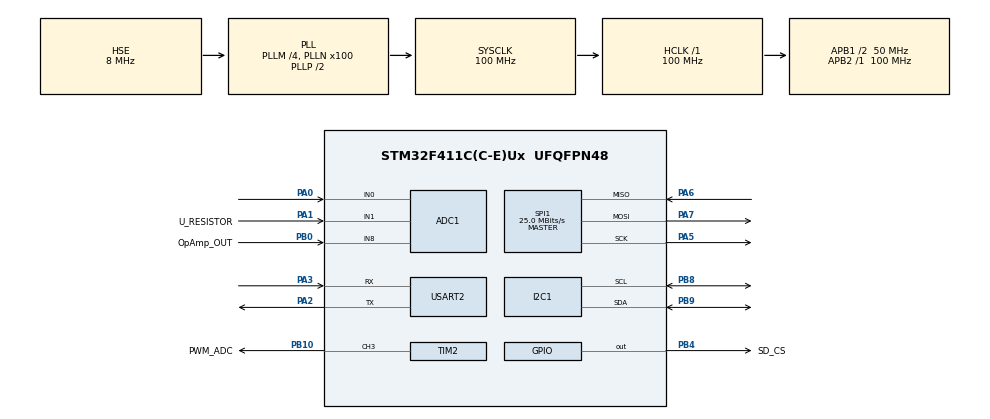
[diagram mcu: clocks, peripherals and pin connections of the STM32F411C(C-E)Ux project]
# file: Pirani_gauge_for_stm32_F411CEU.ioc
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ADC1.Channel-0\#ChannelRegularConversion=ADC_CHANNEL_8
ADC1.Channel-1\#ChannelRegularConversion=ADC_CHANNEL_1
ADC1.Channel-4\#ChannelInjectedConversion=ADC_CHANNEL_0
ADC1.ClockPrescaler=ADC_CLOCK_SYNC_PCLK_DIV8
ADC1.ContinuousConvMode=ENABLE
ADC1.DMAContinuousRequests=ENABLE
ADC1.ExternalTrigConv=ADC_SOFTWARE_START
ADC1.InjNumberOfConversion=1
ADC1.InjectedOffset-4\#ChannelInjectedConversion=0
ADC1.InjectedRank-4\#ChannelInjectedConversion=1
ADC1.NbrOfConversion=2
ADC1.NbrOfConversionFlag=1
ADC1.Rank-0\#ChannelRegularConversion=1
ADC1.Rank-1\#ChannelRegularConversion=2
ADC1.SamplingTime-0\#ChannelRegularConversion=ADC_SAMPLETIME_480CYCLES
ADC1.SamplingTime-1\#ChannelRegularConversion=ADC_SAMPLETIME_480CYCLES
ADC1.SamplingTime-4\#ChannelInjectedConversion=ADC_SAMPLETIME_480CYCLES
ADC1.ScanConvMode=ENABLE
ADC1.master=1
Dma.ADC1.0.Direction=DMA_PERIPH_TO_MEMORY
Dma.ADC1.0.FIFOMode=DMA_FIFOMODE_ENABLE
Dma.ADC1.0.FIFOThreshold=DMA_FIFO_THRESHOLD_FULL
Dma.ADC1.0.Instance=DMA2_Stream0
Dma.ADC1.0.MemBurst=DMA_MBURST_SINGLE
Dma.ADC1.0.MemDataAlignment=DMA_MDATAALIGN_HALFWORD
Dma.ADC1.0.MemInc=DMA_MINC_ENABLE
Dma.ADC1.0.Mode=DMA_CIRCULAR
Dma.ADC1.0.PeriphBurst=DMA_PBURST_SINGLE
Dma.ADC1.0.PeriphDataAlignment=DMA_PDATAALIGN_HALFWORD
Dma.ADC1.0.PeriphInc=DMA_PINC_DISABLE
Dma.ADC1.0.Priority=DMA_PRIORITY_LOW
Dma.Request0=ADC1
FATFS._MAX_SS=4096
FATFS._USE_LFN=1
I2C1.I2C_Mode=I2C_Fast
Mcu.Family=STM32F4
Mcu.Name=STM32F411C(C-E)Ux
Mcu.Package=UFQFPN48
NVIC.DMA2_Stream0_IRQn=true\:0\:0\:false\:true\:true\:1\:false\:true
NVIC.PriorityGroup=NVIC_PRIORITYGROUP_4
NVIC.TIM1_TRG_COM_TIM11_IRQn=true\:0\:0\:false\:false\:true\:true\:true
NVIC.TIM1_UP_TIM10_IRQn=true\:0\:0\:false\:false\:true\:true\:true
NVIC.TIM2_IRQn=true\:0\:0\:false\:false\:true\:true\:true
NVIC.USART2_IRQn=true\:0\:0\:false\:false\:true\:true\:true
PA0-WKUP.Signal=ADCx_IN0
PA1.GPIO_Label=U_RESISTOR
PA1.Signal=ADCx_IN1
PA13.Mode=Serial_Wire
PA13.Signal=SYS_JTMS-SWDIO
PA14.Mode=Serial_Wire
PA14.Signal=SYS_JTCK-SWCLK
PA2.Mode=Asynchronous
PA2.Signal=USART2_TX
PA3.Mode=Asynchronous
PA3.Signal=USART2_RX
PA5.Mode=Full_Duplex_Master
PA5.Signal=SPI1_SCK
PA6.Mode=Full_Duplex_Master
PA6.Signal=SPI1_MISO
PA7.Mode=Full_Duplex_Master
PA7.Signal=SPI1_MOSI
PB0.GPIO_Label=OpAmp_OUT
PB0.Signal=ADCx_IN8
PB10.GPIO_Label=PWM_ADC
PB10.Signal=S_TIM2_CH3
PB4.GPIO_Label=SD_CS
PB4.Signal=GPIO_Output
PB8.Mode=I2C
PB8.Signal=I2C1_SCL
PB9.Mode=I2C
PB9.Signal=I2C1_SDA
PC14-OSC32_IN.Mode=LSE-External-Oscillator
PC14-OSC32_IN.Signal=RCC_OSC32_IN
PC15-OSC32_OUT.Mode=LSE-External-Oscillator
PC15-OSC32_OUT.Signal=RCC_OSC32_OUT
PH0\ -\ OSC_IN.Mode=HSE-External-Oscillator
PH0\ -\ OSC_IN.Signal=RCC_OSC_IN
PH1\ -\ OSC_OUT.Mode=HSE-External-Oscillator
PH1\ -\ OSC_OUT.Signal=RCC_OSC_OUT
ProjectManager.HeapSize=0x200
ProjectManager.StackSize=0x400
ProjectManager.TargetToolchain=SW4STM32
RCC.48MHZClocksFreq_Value=66666666.666666664
RCC.AHBFreq_Value=100000000
RCC.APB1CLKDivider=RCC_HCLK_DIV2
RCC.APB1Freq_Value=50000000
RCC.APB1TimFreq_Value=100000000
RCC.APB2Freq_Value=100000000
RCC.APB2TimFreq_Value=100000000
RCC.CortexFreq_Value=100000000
RCC.HCLKFreq_Value=100000000
RCC.HSE_VALUE=8000000
RCC.HSI_VALUE=16000000
RCC.PLLM=4
RCC.PLLN=100
RCC.PLLQ=3
RCC.PLLSourceVirtual=RCC_PLLSOURCE_HSE
RCC.RCC_RTC_Clock_Source=RCC_RTCCLKSOURCE_LSE
RCC.RCC_RTC_Clock_SourceVirtual=RCC_RTCCLKSOURCE_LSE
RCC.SYSCLKFreq_VALUE=100000000
RCC.SYSCLKSource=RCC_SYSCLKSOURCE_PLLCLK
RCC.VCOOutputFreq_Value=200000000
SH.ADCx_IN0.0=ADC1_IN0,IN0
SH.ADCx_IN1.0=ADC1_IN1,IN1
SH.ADCx_IN8.0=ADC1_IN8,IN8
SH.S_TIM2_CH3.0=TIM2_CH3,PWM Generation3 CH3
SPI1.BaudRatePrescaler=SPI_BAUDRATEPRESCALER_4
SPI1.CalculateBaudRate=25.0 MBits/s
SPI1.Direction=SPI_DIRECTION_2LINES
SPI1.Mode=SPI_MODE_MASTER
SPI1.VirtualType=VM_MASTER
TIM10.Period=199
TIM10.Prescaler=9999
TIM11.Period=9999
TIM11.Prescaler=10999
TIM2.Channel-PWM\ Generation3\ CH3=TIM_CHANNEL_3
TIM2.OCMode_PWM-PWM\ Generation3\ CH3=TIM_OCMODE_PWM1
TIM2.Period=9999
TIM2.Prescaler=49
USART2.VirtualMode=VM_ASYNC
VP_FATFS_VS_Generic.Mode=User_defined
VP_TIM10_VS_ClockSourceINT.Mode=Enable_Timer
VP_TIM11_VS_ClockSourceINT.Mode=Enable_Timer
VP_TIM2_VS_ClockSourceINT.Mode=Internal
board=custom

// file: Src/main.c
/* USER CODE BEGIN Header */
/**
 ******************************************************************************
 * Author: 		   : Aleksander Dzikowski
 * @file           : main.c
 * @brief          : Main program body
 ******************************************************************************
 * @attention
 *
 * <h2><center>&copy; Copyright (c) 2019 STMicroelectronics.
 * All rights reserved.</center></h2>
 *
 * This software component is licensed by ST under BSD 3-Clause license,
 * the "License"; You may not use this file except in compliance with the
 * License. You may obtain a copy of the License at:
 *                        opensource.org/licenses/BSD-3-Clause
 *
 ******************************************************************************
 */
/* USER CODE END Header */

#include "main.h"
#include "fatfs.h"

/* USER CODE BEGIN Includes */

#include <stdio.h>
#include <string.h>
#include <math.h>
#include "uart.h"
#include "gauge.h"
#include "fatfs_sd.h"

#include "fonts.h"
#include "ssd1306.h"
#include "test.h"

/* USER CODE END Includes */

ADC_HandleTypeDef hadc1;
DMA_HandleTypeDef hdma_adc1;

I2C_HandleTypeDef hi2c1;

SPI_HandleTypeDef hspi1;

TIM_HandleTypeDef htim2;
TIM_HandleTypeDef htim10;
TIM_HandleTypeDef htim11;

UART_HandleTypeDef huart2;

/* USER CODE BEGIN PV */

extern UART_HandleTypeDef huart2;
extern ADC_HandleTypeDef hadc1;
extern TIM_HandleTypeDef htim2;
extern TIM_HandleTypeDef htim2;
extern volatile uint32_t time;
extern volatile enum DISK_STATUS card_status;
extern volatile enum AUTO_MEASURE algorithm_status;

extern char data_for_disp[12];
/* USER CODE END PV */

void SystemClock_Config(void);
static void MX_GPIO_Init(void);
static void MX_DMA_Init(void);
static void MX_USART2_UART_Init(void);
static void MX_TIM10_Init(void);
static void MX_TIM2_Init(void);
static void MX_ADC1_Init(void);
static void MX_SPI1_Init(void);
static void MX_TIM11_Init(void);
static void MX_I2C1_Init(void);
static void MX_NVIC_Init(void);

/* USER CODE BEGIN 0 */
uint8_t counter_of_data = 0;
float power_sum = 0;
float resistance_sum = 0;
float pressure_sum = 0;
/* USER CODE END 0 */

int main(void) {

	/* MCU Configuration--------------------------------------------------------*/

	/* Reset of all peripherals, Initializes the Flash interface and the Systick. */
	HAL_Init();

	/* Configure the system clock */
	SystemClock_Config();

	/* Initialize all configured peripherals */
	MX_GPIO_Init();
	MX_DMA_Init();
	MX_USART2_UART_Init();
	MX_TIM10_Init();
	MX_TIM2_Init();
	MX_ADC1_Init();
	MX_SPI1_Init();
	MX_FATFS_Init();
	MX_TIM11_Init();
	MX_I2C1_Init();

	/* Initialize interrupts */
	MX_NVIC_Init();

	/* Infinite loop */
	/* USER CODE BEGIN WHILE */
	uart_init();
	adc_init();
	//pwm_init();

	//Mount SD Card
	fresult = f_mount(&fs, "", 1);

	if (fresult != FR_OK) {
		uart_tx(&huart2, (uint8_t *) "error in mounting SD CARD...\n");
	} else {
		card_status = DISK_OK;
		uart_tx(&huart2, (uint8_t *) "SD CARD mounted successfully...\n");
		//Check card capacity
		f_getfree("", &fre_clust, &pfs);
		total = (uint32_t) ((pfs->n_fatent - 2) * pfs->csize * 0.5);
		sprintf(buffer, "SD CARD Total Size: \t%lu\n", total);
		uart_tx(&huart2, (uint8_t *) buffer);
		bufclear();
		free_space = (uint32_t) (fre_clust * pfs->csize * 0.5);
		sprintf(buffer, "SD CARD Free space:\t%lu\n", free_space);
		uart_tx(&huart2, (uint8_t *) buffer);
		bufclear();
		while ((fresult = f_open(&file, "measure.csv",
				FA_OPEN_ALWAYS | FA_READ | FA_WRITE)) != FR_OK)
			;
		uart_tx(&huart2, (uint8_t *) "measure.csv created\n");
		f_close(&file);
	}

	algorithm_status = CURRENT_200;
	SSD1306_Init();
	dataStruct.pressure = 0;
	while (1) {
		/* USER CODE END WHILE */

		/* USER CODE BEGIN 3 */
		calc_data(&dataStruct, Measure[NUMBERS_ADC_CHANNELS]);
		calc_pressure(&dataStruct);

		sprintf(data_for_disp, "p:%.4fmba", dataStruct.pressure);
		disp_pressure(data_for_disp);
		sprintf(data_for_disp, "R:%.2fOhm", dataStruct.resistanceLoad);
		disp_resistance(data_for_disp);
		sprintf(data_for_disp, "P:%.2fW", dataStruct.powerLoad);
		disp_power(data_for_disp);
		SSD1306_UpdateScreen();
		HAL_Delay(50);

	}

	/* USER CODE END 3 */
}

void SystemClock_Config(void) {
	RCC_OscInitTypeDef RCC_OscInitStruct = { 0 };
	RCC_ClkInitTypeDef RCC_ClkInitStruct = { 0 };

	/** Configure the main internal regulator output voltage
	 */
	__HAL_RCC_PWR_CLK_ENABLE()
	;
	__HAL_PWR_VOLTAGESCALING_CONFIG(PWR_REGULATOR_VOLTAGE_SCALE1);
	/** Initializes the CPU, AHB and APB busses clocks
	 */
	RCC_OscInitStruct.OscillatorType = RCC_OSCILLATORTYPE_HSE;
	RCC_OscInitStruct.HSEState = RCC_HSE_ON;
	RCC_OscInitStruct.PLL.PLLState = RCC_PLL_ON;
	RCC_OscInitStruct.PLL.PLLSource = RCC_PLLSOURCE_HSE;
	RCC_OscInitStruct.PLL.PLLM = 4;
	RCC_OscInitStruct.PLL.PLLN = 100;
	RCC_OscInitStruct.PLL.PLLP = RCC_PLLP_DIV2;
	RCC_OscInitStruct.PLL.PLLQ = 3;
	if (HAL_RCC_OscConfig(&RCC_OscInitStruct) != HAL_OK) {
		Error_Handler();
	}
	/** Initializes the CPU, AHB and APB busses clocks
	 */
	RCC_ClkInitStruct.ClockType = RCC_CLOCKTYPE_HCLK | RCC_CLOCKTYPE_SYSCLK
			| RCC_CLOCKTYPE_PCLK1 | RCC_CLOCKTYPE_PCLK2;
	RCC_ClkInitStruct.SYSCLKSource = RCC_SYSCLKSOURCE_PLLCLK;
	RCC_ClkInitStruct.AHBCLKDivider = RCC_SYSCLK_DIV1;
	RCC_ClkInitStruct.APB1CLKDivider = RCC_HCLK_DIV2;
	RCC_ClkInitStruct.APB2CLKDivider = RCC_HCLK_DIV1;

	if (HAL_RCC_ClockConfig(&RCC_ClkInitStruct, FLASH_LATENCY_3) != HAL_OK) {
		Error_Handler();
	}
}

/**
 * @brief NVIC Configuration.
 * @retval None
 */
static void MX_NVIC_Init(void) {
	/* DMA2_Stream0_IRQn interrupt configuration */
	HAL_NVIC_SetPriority(DMA2_Stream0_IRQn, 0, 0);
	HAL_NVIC_EnableIRQ(DMA2_Stream0_IRQn);
}

static void MX_ADC1_Init(void) {

	ADC_ChannelConfTypeDef sConfig = { 0 };
	ADC_InjectionConfTypeDef sConfigInjected = { 0 };

	/** Configure the global features of the ADC (Clock, Resolution, Data Alignment and number of conversion)
	 */
	hadc1.Instance = ADC1;
	hadc1.Init.ClockPrescaler = ADC_CLOCK_SYNC_PCLK_DIV8;
	hadc1.Init.Resolution = ADC_RESOLUTION_12B;
	hadc1.Init.ScanConvMode = ENABLE;
	hadc1.Init.ContinuousConvMode = ENABLE;
	hadc1.Init.DiscontinuousConvMode = DISABLE;
	hadc1.Init.ExternalTrigConvEdge = ADC_EXTERNALTRIGCONVEDGE_NONE;
	hadc1.Init.ExternalTrigConv = ADC_SOFTWARE_START;
	hadc1.Init.DataAlign = ADC_DATAALIGN_RIGHT;
	hadc1.Init.NbrOfConversion = 2;
	hadc1.Init.DMAContinuousRequests = ENABLE;
	hadc1.Init.EOCSelection = ADC_EOC_SINGLE_CONV;
	if (HAL_ADC_Init(&hadc1) != HAL_OK) {
		Error_Handler();
	}
	/** Configure for the selected ADC regular channel its corresponding rank in the sequencer and its sample time.
	 */
	sConfig.Channel = ADC_CHANNEL_8;
	sConfig.Rank = 1;
	sConfig.SamplingTime = ADC_SAMPLETIME_480CYCLES;
	if (HAL_ADC_ConfigChannel(&hadc1, &sConfig) != HAL_OK) {
		Error_Handler();
	}
	/** Configure for the selected ADC regular channel its corresponding rank in the sequencer and its sample time.
	 */
	sConfig.Channel = ADC_CHANNEL_1;
	sConfig.Rank = 2;
	if (HAL_ADC_ConfigChannel(&hadc1, &sConfig) != HAL_OK) {
		Error_Handler();
	}
	/** Configures for the selected ADC injected channel its corresponding rank in the sequencer and its sample time
	 */
	sConfigInjected.InjectedChannel = ADC_CHANNEL_0;
	sConfigInjected.InjectedRank = 1;
	sConfigInjected.InjectedNbrOfConversion = 1;
	sConfigInjected.InjectedSamplingTime = ADC_SAMPLETIME_480CYCLES;
	sConfigInjected.ExternalTrigInjecConvEdge =
			ADC_EXTERNALTRIGINJECCONVEDGE_NONE;
	sConfigInjected.ExternalTrigInjecConv = ADC_INJECTED_SOFTWARE_START;
	sConfigInjected.AutoInjectedConv = DISABLE;
	sConfigInjected.InjectedDiscontinuousConvMode = DISABLE;
	sConfigInjected.InjectedOffset = 0;
	if (HAL_ADCEx_InjectedConfigChannel(&hadc1, &sConfigInjected) != HAL_OK) {
		Error_Handler();
	}

}

static void MX_I2C1_Init(void) {

	hi2c1.Instance = I2C1;
	hi2c1.Init.ClockSpeed = 400000;
	hi2c1.Init.DutyCycle = I2C_DUTYCYCLE_2;
	hi2c1.Init.OwnAddress1 = 0;
	hi2c1.Init.AddressingMode = I2C_ADDRESSINGMODE_7BIT;
	hi2c1.Init.DualAddressMode = I2C_DUALADDRESS_DISABLE;
	hi2c1.Init.OwnAddress2 = 0;
	hi2c1.Init.GeneralCallMode = I2C_GENERALCALL_DISABLE;
	hi2c1.Init.NoStretchMode = I2C_NOSTRETCH_DISABLE;
	if (HAL_I2C_Init(&hi2c1) != HAL_OK) {
		Error_Handler();
	}

}

static void MX_SPI1_Init(void) {

	/* SPI1 parameter configuration*/
	hspi1.Instance = SPI1;
	hspi1.Init.Mode = SPI_MODE_MASTER;
	hspi1.Init.Direction = SPI_DIRECTION_2LINES;
	hspi1.Init.DataSize = SPI_DATASIZE_8BIT;
	hspi1.Init.CLKPolarity = SPI_POLARITY_LOW;
	hspi1.Init.CLKPhase = SPI_PHASE_1EDGE;
	hspi1.Init.NSS = SPI_NSS_SOFT;
	hspi1.Init.BaudRatePrescaler = SPI_BAUDRATEPRESCALER_4;
	hspi1.Init.FirstBit = SPI_FIRSTBIT_MSB;
	hspi1.Init.TIMode = SPI_TIMODE_DISABLE;
	hspi1.Init.CRCCalculation = SPI_CRCCALCULATION_DISABLE;
	hspi1.Init.CRCPolynomial = 10;
	if (HAL_SPI_Init(&hspi1) != HAL_OK) {
		Error_Handler();
	}

}

static void MX_TIM2_Init(void) {

	TIM_ClockConfigTypeDef sClockSourceConfig = { 0 };
	TIM_MasterConfigTypeDef sMasterConfig = { 0 };
	TIM_OC_InitTypeDef sConfigOC = { 0 };

	htim2.Instance = TIM2;
	htim2.Init.Prescaler = 49;
	htim2.Init.CounterMode = TIM_COUNTERMODE_UP;
	htim2.Init.Period = 9999;
	htim2.Init.ClockDivision = TIM_CLOCKDIVISION_DIV1;
	htim2.Init.AutoReloadPreload = TIM_AUTORELOAD_PRELOAD_DISABLE;
	if (HAL_TIM_Base_Init(&htim2) != HAL_OK) {
		Error_Handler();
	}
	sClockSourceConfig.ClockSource = TIM_CLOCKSOURCE_INTERNAL;
	if (HAL_TIM_ConfigClockSource(&htim2, &sClockSourceConfig) != HAL_OK) {
		Error_Handler();
	}
	if (HAL_TIM_PWM_Init(&htim2) != HAL_OK) {
		Error_Handler();
	}
	sMasterConfig.MasterOutputTrigger = TIM_TRGO_RESET;
	sMasterConfig.MasterSlaveMode = TIM_MASTERSLAVEMODE_DISABLE;
	if (HAL_TIMEx_MasterConfigSynchronization(&htim2, &sMasterConfig)
			!= HAL_OK) {
		Error_Handler();
	}
	sConfigOC.OCMode = TIM_OCMODE_PWM1;
	sConfigOC.Pulse = 0;
	sConfigOC.OCPolarity = TIM_OCPOLARITY_HIGH;
	sConfigOC.OCFastMode = TIM_OCFAST_DISABLE;
	if (HAL_TIM_PWM_ConfigChannel(&htim2, &sConfigOC, TIM_CHANNEL_3)
			!= HAL_OK) {
		Error_Handler();
	}
	HAL_TIM_MspPostInit(&htim2);

}

static void MX_TIM10_Init(void) {

	htim10.Instance = TIM10;
	htim10.Init.Prescaler = 9999;
	htim10.Init.CounterMode = TIM_COUNTERMODE_UP;
	htim10.Init.Period = 199;
	htim10.Init.ClockDivision = TIM_CLOCKDIVISION_DIV1;
	htim10.Init.AutoReloadPreload = TIM_AUTORELOAD_PRELOAD_DISABLE;
	if (HAL_TIM_Base_Init(&htim10) != HAL_OK) {
		Error_Handler();
	}

}

static void MX_TIM11_Init(void) {

	htim11.Instance = TIM11;
	htim11.Init.Prescaler = 10999;
	htim11.Init.CounterMode = TIM_COUNTERMODE_UP;
	htim11.Init.Period = 9999;
	htim11.Init.ClockDivision = TIM_CLOCKDIVISION_DIV1;
	htim11.Init.AutoReloadPreload = TIM_AUTORELOAD_PRELOAD_DISABLE;
	if (HAL_TIM_Base_Init(&htim11) != HAL_OK) {
		Error_Handler();
	}

}

static void MX_USART2_UART_Init(void) {

	huart2.Instance = USART2;
	huart2.Init.BaudRate = 115200;
	huart2.Init.WordLength = UART_WORDLENGTH_8B;
	huart2.Init.StopBits = UART_STOPBITS_1;
	huart2.Init.Parity = UART_PARITY_NONE;
	huart2.Init.Mode = UART_MODE_TX_RX;
	huart2.Init.HwFlowCtl = UART_HWCONTROL_NONE;
	huart2.Init.OverSampling = UART_OVERSAMPLING_16;
	if (HAL_UART_Init(&huart2) != HAL_OK) {
		Error_Handler();
	}

}

static void MX_DMA_Init(void) {
	/* DMA controller clock enable */
	__HAL_RCC_DMA2_CLK_ENABLE()
	;

}

static void MX_GPIO_Init(void) {
	GPIO_InitTypeDef GPIO_InitStruct = { 0 };

	/* GPIO Ports Clock Enable */
	__HAL_RCC_GPIOC_CLK_ENABLE()
	;
	__HAL_RCC_GPIOH_CLK_ENABLE()
	;
	__HAL_RCC_GPIOA_CLK_ENABLE()
	;
	__HAL_RCC_GPIOB_CLK_ENABLE()
	;

	/*Configure GPIO pin Output Level */
	HAL_GPIO_WritePin(SD_CS_GPIO_Port, SD_CS_Pin, GPIO_PIN_RESET);

	/*Configure GPIO pin : SD_CS_Pin */
	GPIO_InitStruct.Pin = SD_CS_Pin;
	GPIO_InitStruct.Mode = GPIO_MODE_OUTPUT_PP;
	GPIO_InitStruct.Pull = GPIO_NOPULL;
	GPIO_InitStruct.Speed = GPIO_SPEED_FREQ_LOW;
	HAL_GPIO_Init(SD_CS_GPIO_Port, &GPIO_InitStruct);

}

/* USER CODE BEGIN 4 */

void HAL_TIM_PeriodElapsedCallback(TIM_HandleTypeDef *htim) {
	if (htim->Instance == TIM10) {
		number++;
		wobbuling(measure_status, prescaler, arr);
		prepare_message_data(dataStruct, Measure[NUMBERS_ADC_CHANNELS]);
		uart_tx_it(&huart2, data_tx);
		if (card_status == DISK_OK) {
			size_t len = strlen(data_tx);
			strncpy(buffer, data_tx, len);
			fresult = f_puts(buffer, &file);
			bufclear();
		}
	} else if (htim->Instance == TIM11) {
		if (algorithm_status != STOP_AUTO) {
			uart_tx(&huart2, (uint8_t *) "TIM11");
			if (dataStruct.resistanceLoad > 0) {
				if (dataStruct.resistanceLoad >= resistance_map[0][0]
						&& dataStruct.resistanceLoad <= resistance_map[0][2]) {
				} else if (dataStruct.resistanceLoad >= resistance_map[1][0]
						&& dataStruct.resistanceLoad <= resistance_map[1][2]) {
					*ptr_pwm = PWM_TO_CURRENT_100;
					algorithm_status = CURRENT_100;
					__HAL_TIM_SET_COMPARE(&htim2, TIM_CHANNEL_3, *ptr_pwm);
				} else if (dataStruct.resistanceLoad >= resistance_map[2][0]
						&& dataStruct.resistanceLoad <= resistance_map[2][2]) {
					*ptr_pwm = PWM_TO_CURRENT_200;
					algorithm_status = CURRENT_200;
					__HAL_TIM_SET_COMPARE(&htim2, TIM_CHANNEL_3, *ptr_pwm);
				}
			}
		}
	}
}

void HAL_SYSTICK_Callback(void) {
	time++;
}

void HAL_UART_RxCpltCallback(UART_HandleTypeDef *uart) {
	if (recvd_data == '\n') {
		reception_complete = TRUE;
		strncpy(first, data_rx, LEN_FIRST);
		if (strncmp(first, "$SET_", LEN_FIRST) == 0) {
			strncpy(second, data_rx + LEN_FIRST, MAX_LEN_SECOND); //
			if (strncmp(second, "START", strlen("START")) == 0
					&& measure_status != RUN) {
				measure_status = RUN;

				prescaler = 999;
				pwm_init();
				start_measure_manual();
			} else if (strncmp(second, "STOP", MAX_LEN_SECOND) == 0) {

				measure_status = STOP;
				if (measure_status == RUN) {

					prescaler = 999;
					stop_measure_manual();

				} else if (measure_status == WOBBUL) {
					prescaler = 999;
					stop_wobbul();
				} //which STOP
				else if (algorithm_status != START_AUTO) {
					algorithm_status = STOP_AUTO;
					*ptr_pwm = 0;

					HAL_TIM_Base_Stop_IT(&htim11);
					stop_measure_manual();
				}
				// to STOP
			} else if (strncmp(second, "AUTO", MAX_LEN_SECOND) == 0) {
				algorithm_status = CURRENT_26;
				*ptr_pwm = PWM_TO_CURRENT_26;
				HAL_TIM_Base_Start_IT(&htim11);
				start_measure_manual();
			} else if (strncmp(second, "10000", MAX_LEN_SECOND) == 0) {
				*ptr_pwm = atoi(second) - 1;
				//set_pulse_width(*ptr_pwm);
				__HAL_TIM_SET_COMPARE(&htim2, TIM_CHANNEL_3, *ptr_pwm);
			} else if (second[0] == '0') {
				*ptr_pwm = atoi(second);
				//set_pulse_width(*ptr_pwm);
				__HAL_TIM_SET_COMPARE(&htim2, TIM_CHANNEL_3, *ptr_pwm);
			} else if (strncmp(second, "WOBB", MAX_LEN_SECOND) == 0) {
				*ptr_pwm = 50 * 9999 / 100; // set PWM at 50%
				if (measure_status == RUN) {
					start_wobbul_raw();
				} else if (measure_status == STOP) {
					time = 0;
					start_wobbul_raw();
				}
			} else {
				uart_tx_it(&huart2, (uint8_t *) "Wrong format. Try again.\n");
			}
			//strncmp to $SET_
		} else if (strncmp(first, (const char) "$RLC_", LEN_FIRST) == 0) {
			strncpy(second, (const char) (data_rx + (uint8_t) LEN_FIRST),
					MAX_LEN_SECOND);
			freq_set(second);
		} else {
			uart_tx_it(&huart2,
					(uint8_t *) "Wrong format. Code should started with $SET_xxxxx.\n");
		}
		count = 0;
		memset(&data_rx, '\0', sizeof(data_rx));
	} else {
		data_rx[count++] = recvd_data;
	}
	HAL_UART_Receive_IT(&huart2, &recvd_data, 1); //Turning on receiving

}

/* USER CODE END 4 */

void Error_Handler(void) {
}

/************************ (C) COPYRIGHT STMicroelectronics *****END OF FILE****/
